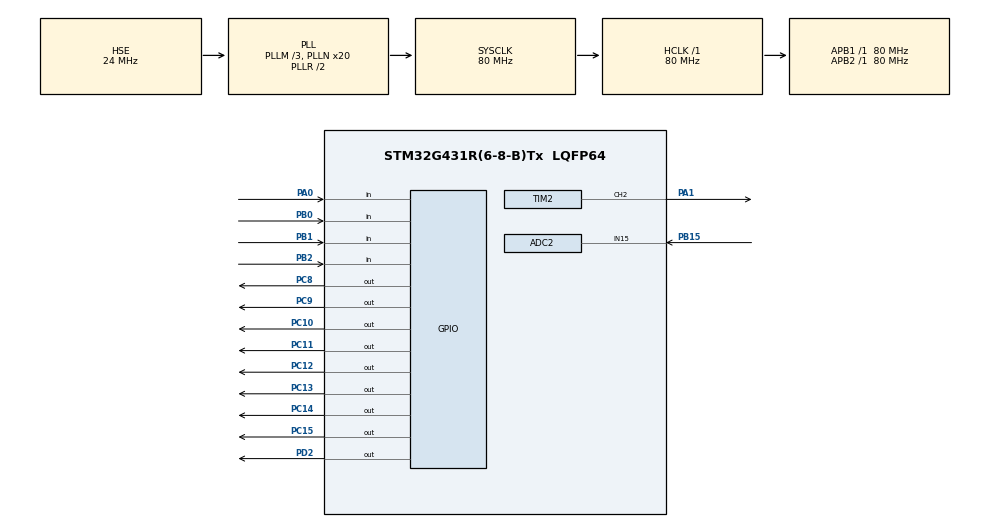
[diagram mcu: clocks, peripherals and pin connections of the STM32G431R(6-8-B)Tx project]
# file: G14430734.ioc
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ADC2.Channel-0\#ChannelRegularConversion=ADC_CHANNEL_15
ADC2.NbrOfConversionFlag=1
ADC2.OffsetNumber-0\#ChannelRegularConversion=ADC_OFFSET_NONE
ADC2.Rank-0\#ChannelRegularConversion=1
ADC2.SamplingTime-0\#ChannelRegularConversion=ADC_SAMPLETIME_2CYCLES_5
Mcu.Family=STM32G4
Mcu.Name=STM32G431R(6-8-B)Tx
Mcu.Package=LQFP64
NVIC.PriorityGroup=NVIC_PRIORITYGROUP_4
NVIC.TIM1_TRG_COM_TIM17_IRQn=true\:0\:0\:false\:false\:true\:true\:true\:true
NVIC.TIM1_UP_TIM16_IRQn=true\:0\:0\:false\:false\:true\:true\:true\:true
PA0.GPIO_PuPd=GPIO_PULLUP
PA0.Signal=GPIO_Input
PA1.Signal=S_TIM2_CH2
PA13.Mode=Serial_Wire
PA13.Signal=SYS_JTMS-SWDIO
PA14.Mode=Serial_Wire
PA14.Signal=SYS_JTCK-SWCLK
PB0.GPIO_PuPd=GPIO_PULLUP
PB0.Signal=GPIO_Input
PB1.GPIO_PuPd=GPIO_PULLUP
PB1.Signal=GPIO_Input
PB15.Mode=IN15-Single-Ended
PB15.Signal=ADC2_IN15
PB2.GPIO_PuPd=GPIO_PULLUP
PB2.Signal=GPIO_Input
PC10.PinState=GPIO_PIN_SET
PC10.Signal=GPIO_Output
PC11.PinState=GPIO_PIN_SET
PC11.Signal=GPIO_Output
PC12.PinState=GPIO_PIN_SET
PC12.Signal=GPIO_Output
PC13.PinState=GPIO_PIN_SET
PC13.Signal=GPIO_Output
PC14-OSC32_IN.PinState=GPIO_PIN_SET
PC14-OSC32_IN.Signal=GPIO_Output
PC15-OSC32_OUT.PinState=GPIO_PIN_SET
PC15-OSC32_OUT.Signal=GPIO_Output
PC8.PinState=GPIO_PIN_SET
PC8.Signal=GPIO_Output
PC9.PinState=GPIO_PIN_SET
PC9.Signal=GPIO_Output
PD2.Signal=GPIO_Output
PF0-OSC_IN.Mode=HSE-External-Oscillator
PF0-OSC_IN.Signal=RCC_OSC_IN
PF1-OSC_OUT.Mode=HSE-External-Oscillator
PF1-OSC_OUT.Signal=RCC_OSC_OUT
ProjectManager.HeapSize=0x200
ProjectManager.StackSize=0x400
ProjectManager.TargetToolchain=MDK-ARM V5.32
RCC.ADC12Freq_Value=80000000
RCC.AHBFreq_Value=80000000
RCC.APB1Freq_Value=80000000
RCC.APB1TimFreq_Value=80000000
RCC.APB2Freq_Value=80000000
RCC.APB2TimFreq_Value=80000000
RCC.CortexFreq_Value=80000000
RCC.EXTERNAL_CLOCK_VALUE=12288000
RCC.HCLKFreq_Value=80000000
RCC.HSE_VALUE=24000000
RCC.HSI48_VALUE=48000000
RCC.HSI_VALUE=16000000
RCC.LSE_VALUE=32768
RCC.PLLM=RCC_PLLM_DIV3
RCC.PLLN=20
RCC.PLLSourceVirtual=RCC_PLLSOURCE_HSE
RCC.SYSCLKFreq_VALUE=80000000
RCC.SYSCLKSource=RCC_SYSCLKSOURCE_PLLCLK
RCC.USBFreq_Value=80000000
RCC.VCOOutputFreq_Value=160000000
SH.S_TIM2_CH2.0=TIM2_CH2,PWM Generation2 CH2
TIM16.PeriodNoDither=1000-1
TIM16.Prescaler=80-1
TIM17.PeriodNoDither=1000-1
TIM17.Prescaler=80-1
TIM2.Channel-PWM\ Generation2\ CH2=TIM_CHANNEL_2
TIM2.PeriodNoDither=250-1
TIM2.Prescaler=80-1
TIM2.PulseNoDither_2=400
VP_SYS_VS_DBSignals.Mode=DisableDeadBatterySignals
VP_TIM16_VS_ClockSourceINT.Mode=Enable_Timer
VP_TIM17_VS_ClockSourceINT.Mode=Enable_Timer
board=custom

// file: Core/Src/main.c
/* USER CODE BEGIN Header */
/**
  ******************************************************************************
  * @file           : main.c
  * @brief          : Main program body
  ******************************************************************************
  * @attention
  *
  * Copyright (c) 2023 STMicroelectronics.
  * All rights reserved.
  *
  * This software is licensed under terms that can be found in the LICENSE file
  * in the root directory of this software component.
  * If no LICENSE file comes with this software, it is provided AS-IS.
  *
  ******************************************************************************
  */
/* USER CODE END Header */
#include "main.h"
#include "adc.h"
#include "tim.h"
#include "gpio.h"

/* USER CODE BEGIN Includes */

#include "led.h"
#include "lcd.h"
#include "my_pwm.h"
#include "stdio.h"

/* USER CODE END Includes */

void SystemClock_Config(void);

/* USER CODE BEGIN 0 */

int src_flag=0;	//屏幕标志位
char text[30];

extern int R;
extern int K;
extern int R_K;
extern int pinlv;
extern int change_num;
extern int my;
extern int led_flag;

int adc_value=0;	//adc采集值
int palse=0;	//占空比

/* USER CODE END 0 */

int main(void)
{

  /* MCU Configuration--------------------------------------------------------*/

  /* Reset of all peripherals, Initializes the Flash interface and the Systick. */
  HAL_Init();

  /* Configure the system clock */
  SystemClock_Config();

  /* Initialize all configured peripherals */
  MX_GPIO_Init();
  MX_TIM17_Init();
  MX_TIM2_Init();
  MX_TIM16_Init();
  MX_ADC2_Init();
  /* USER CODE BEGIN 2 */
	led_Disp(0x00);
//	led_Disp(0x01);

	LCD_Init();
	LCD_Clear(Black);
	LCD_SetBackColor(Black);
	LCD_SetTextColor(White);

	HAL_TIM_PWM_Start(&htim2,TIM_CHANNEL_2);
	__HAL_TIM_SetCompare(&htim2,TIM_CHANNEL_2,400);

	if(src_flag==0){
		led_Disp(0x01);
	}
	HAL_ADC_Start(&hadc2);

  /* USER CODE END 2 */

  /* Infinite loop */
  while (1)
  {

    /* USER CODE BEGIN 3 */
	  adc_value=HAL_ADC_GetValue(&hadc2);

	if(src_flag==0){//数据界面
//		led_Disp(0x01);
		LCD_DisplayStringLine(Line0, (uint8_t *)"                    ");
		LCD_DisplayStringLine(Line1, (uint8_t *)"        DATA        ");
		LCD_DisplayStringLine(Line2, (uint8_t *)"                    ");
		if(pinlv==0){//低频
			LCD_DisplayStringLine(Line3, (uint8_t *)"     M=L            ");
		}else if(pinlv==1){//高频
			LCD_DisplayStringLine(Line3, (uint8_t *)"     M=H            ");
		}
		sprintf(text,"     P=%d%%         ",palse);
		LCD_DisplayStringLine(Line4, (uint8_t *)text);

		sprintf(text,"     V=%d         ",adc_value);
		LCD_DisplayStringLine(Line5, (uint8_t *)text);

		LCD_DisplayStringLine(Line6, (uint8_t *)"                    ");
		LCD_DisplayStringLine(Line7, (uint8_t *)"                    ");
		LCD_DisplayStringLine(Line8, (uint8_t *)"                    ");
		LCD_DisplayStringLine(Line9, (uint8_t *)"                    ");
	}else if(src_flag==1){
		LCD_DisplayStringLine(Line0, (uint8_t *)"                    ");
		LCD_DisplayStringLine(Line1, (uint8_t *)"        PARA        ");
		LCD_DisplayStringLine(Line2, (uint8_t *)"                    ");
		sprintf(text,"     R=%d            ",R);
		LCD_DisplayStringLine(Line3, (uint8_t *)text);
		sprintf(text,"     K=%d            ",K);
		LCD_DisplayStringLine(Line4, (uint8_t *)text);
		LCD_DisplayStringLine(Line5, (uint8_t *)"                    ");
		LCD_DisplayStringLine(Line6, (uint8_t *)"                    ");
		LCD_DisplayStringLine(Line7, (uint8_t *)"                    ");
		LCD_DisplayStringLine(Line8, (uint8_t *)"                    ");
		LCD_DisplayStringLine(Line9, (uint8_t *)"                    ");
	}else if(src_flag==2){
		LCD_DisplayStringLine(Line0, (uint8_t *)"                    ");
		LCD_DisplayStringLine(Line1, (uint8_t *)"        RECD        ");
		LCD_DisplayStringLine(Line2, (uint8_t *)"                    ");
		sprintf(text,"     N=%d           ",change_num);
		LCD_DisplayStringLine(Line3, (uint8_t *)text);
		LCD_DisplayStringLine(Line4, (uint8_t *)"     MH=110.8       ");
		LCD_DisplayStringLine(Line5, (uint8_t *)"     ML=38.2        ");
		LCD_DisplayStringLine(Line6, (uint8_t *)"                    ");
		LCD_DisplayStringLine(Line7, (uint8_t *)"                    ");
		LCD_DisplayStringLine(Line8, (uint8_t *)"                    ");
		LCD_DisplayStringLine(Line9, (uint8_t *)"                    ");
	}

	key_proc();
	pwm_proc();

  }
  /* USER CODE END 3 */
}

void SystemClock_Config(void)
{
  RCC_OscInitTypeDef RCC_OscInitStruct = {0};
  RCC_ClkInitTypeDef RCC_ClkInitStruct = {0};

  /** Configure the main internal regulator output voltage
  */
  HAL_PWREx_ControlVoltageScaling(PWR_REGULATOR_VOLTAGE_SCALE1);

  /** Initializes the RCC Oscillators according to the specified parameters
  * in the RCC_OscInitTypeDef structure.
  */
  RCC_OscInitStruct.OscillatorType = RCC_OSCILLATORTYPE_HSE;
  RCC_OscInitStruct.HSEState = RCC_HSE_ON;
  RCC_OscInitStruct.PLL.PLLState = RCC_PLL_ON;
  RCC_OscInitStruct.PLL.PLLSource = RCC_PLLSOURCE_HSE;
  RCC_OscInitStruct.PLL.PLLM = RCC_PLLM_DIV3;
  RCC_OscInitStruct.PLL.PLLN = 20;
  RCC_OscInitStruct.PLL.PLLP = RCC_PLLP_DIV2;
  RCC_OscInitStruct.PLL.PLLQ = RCC_PLLQ_DIV2;
  RCC_OscInitStruct.PLL.PLLR = RCC_PLLR_DIV2;
  if (HAL_RCC_OscConfig(&RCC_OscInitStruct) != HAL_OK)
  {
    Error_Handler();
  }

  /** Initializes the CPU, AHB and APB buses clocks
  */
  RCC_ClkInitStruct.ClockType = RCC_CLOCKTYPE_HCLK|RCC_CLOCKTYPE_SYSCLK
                              |RCC_CLOCKTYPE_PCLK1|RCC_CLOCKTYPE_PCLK2;
  RCC_ClkInitStruct.SYSCLKSource = RCC_SYSCLKSOURCE_PLLCLK;
  RCC_ClkInitStruct.AHBCLKDivider = RCC_SYSCLK_DIV1;
  RCC_ClkInitStruct.APB1CLKDivider = RCC_HCLK_DIV1;
  RCC_ClkInitStruct.APB2CLKDivider = RCC_HCLK_DIV1;

  if (HAL_RCC_ClockConfig(&RCC_ClkInitStruct, FLASH_LATENCY_2) != HAL_OK)
  {
    Error_Handler();
  }
}

void Error_Handler(void)
{
  __disable_irq();
  while (1)
  {
  }
}
